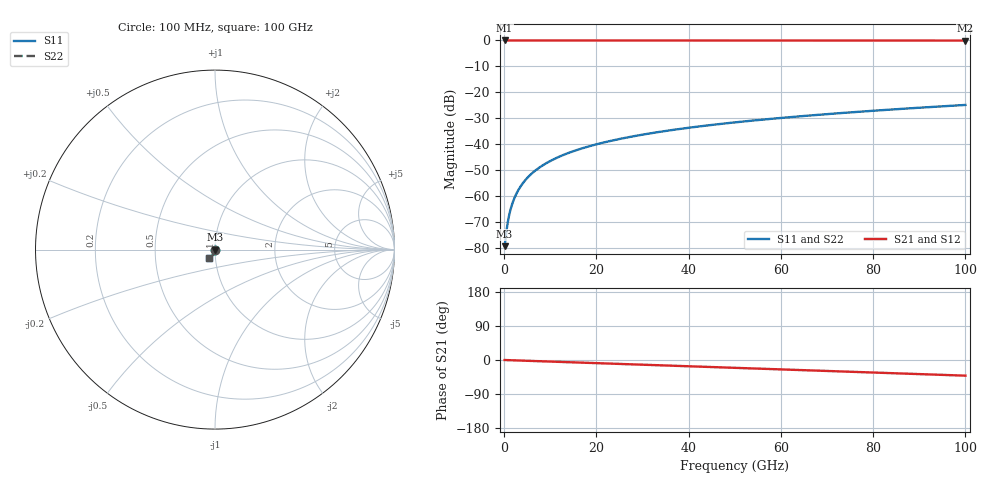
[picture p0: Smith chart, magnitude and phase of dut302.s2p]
! Touchstone file exported from HFSS 2026.1.0
!  File:  C:/ffzhzh/LocalFiles/Ansys_Project_Files/temp_train_TSV_302_1783509207_44152.aedt
!  Generated:  07:14:36 PM Jul  8, 2026
!  Design:  TSV
!  Project:  temp_train_TSV_302_1783509207_44152
! Variables:
!  h_bsmrdl = 2um
!  h_ox = 20um
!  h_rdl = 5um
!  h_sub = 83.7um
!  h_tmrdl = 5um
!  h_tsv = 83.7um
!  h_via = 3um
!  l_bsmrdl = 300um
!  l_sub = 423.16um
!  l_tmrdl = 200um
!  m_sub = 200um
!  pitch = 43.54um
!  r_tsv = 11.58um
!  s_tmrdl = 10um
!  w_bsmrdl = 18um
!  w_sub = 500um
!  w_tmrdl = 12um
!  x_tsv_center1 = 206um
!  x_tsv_center2 = 524um
!  x_tsv_center3 = 736um
!  x_tsv_center4 = 1054um
!  x_tsv_center5 = 1266um
!  x_tsv_center6 = 1584um
# GHz S MA R 50.000000
! Terminal data exported
! Port[1] = TSV1_1_T1
! Port[2] = TSV1_1_T2
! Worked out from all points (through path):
!   1000 points, 100 MHz to 100 GHz, reference 50 ohm
!   highest |S21| = 0.00 dB at 100 MHz (marker M1); lowest = 0.0 dB at 100 GHz (marker M2)
!   group delay of S21, straight-line fit = 1.15 ps
!   lowest |S11| = -79.4 dB at 100 MHz (marker M3), VSWR 1.00, Z = 50 - j0.000465 ohm
!   |S11| at or under -10 dB: start of sweep to end of sweep
!   |S22| runs from -79.4 to -24.9 dB; largest |S21 - S12| = 4.1e-15
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0.1  0.0001072 -2.5  0.9999 -0.0  0.9999 -0.0  0.0001072 -2.5
! Gamma 0 0 0 0
! Port Impedance 50 0 50 0
0.4  0.0001738 -18.0  0.9998 -0.2  0.9998 -0.2  0.0001738 -18.0
0.9  0.0003521 -42.5  0.9997 -0.4  0.9997 -0.4  0.0003521 -42.5
1.1  0.0004309 -48.5  0.9997 -0.5  0.9997 -0.5  0.0004309 -48.4
1.4  0.0005531 -54.9  0.9997 -0.6  0.9997 -0.6  0.0005531 -54.9
1.8  0.000722 -60.5  0.9996 -0.8  0.9996 -0.8  0.000722 -60.5
2.4  0.0009862 -65.9  0.9996 -1.0  0.9996 -1.0  0.0009862 -65.9
3  0.001261 -69.3  0.9995 -1.3  0.9995 -1.3  0.001261 -69.3
3.7  0.001591 -72.3  0.9995 -1.5  0.9995 -1.5  0.001591 -72.3
4.5  0.001976 -74.8  0.9994 -1.9  0.9994 -1.9  0.001976 -74.8
5.5  0.002464 -77.2  0.9994 -2.3  0.9994 -2.3  0.002464 -77.2
6.6  0.003007 -79.3  0.9993 -2.7  0.9993 -2.7  0.003008 -79.3
9.3  0.004361 -82.8  0.9992 -3.9  0.9992 -3.9  0.004361 -82.8
12.7  0.006102 -86.0  0.999 -5.3  0.999 -5.3  0.006102 -85.9
16.8  0.008226 -89.0  0.9988 -6.9  0.9988 -6.9  0.008226 -89.0
24.1  0.01206 -93.5  0.9986 -10.0  0.9986 -10.0  0.01206 -93.5
33.4  0.01705 -98.4  0.9982 -13.8  0.9982 -13.8  0.01705 -98.4
41.2  0.02132 -102.3  0.998 -17.0  0.998 -17.0  0.02132 -102.2
50.1  0.02629 -106.5  0.9976 -20.7  0.9976 -20.7  0.02629 -106.5
66.7  0.0359 -114.1  0.997 -27.5  0.997 -27.5  0.0359 -114.0
83.4  0.04612 -121.6  0.9962 -34.4  0.9962 -34.4  0.04612 -121.5
100  0.05696 -129.0  0.9952 -41.3  0.9952 -41.3  0.05697 -129.0
